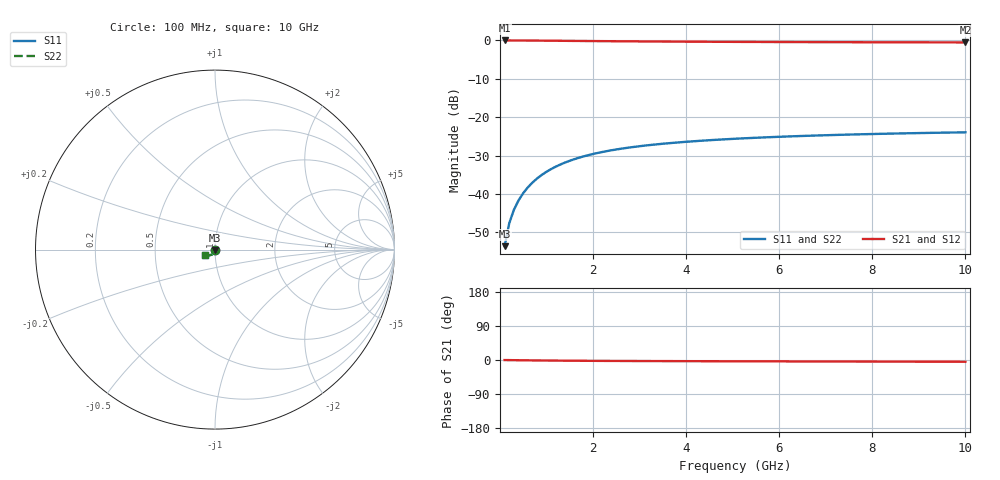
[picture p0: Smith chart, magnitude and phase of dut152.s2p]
! Touchstone file exported from HFSS 2024.1.0
!  File:  C:/UserFiles/LocalFiles/RDL_TSV_Batchsim/temp_TSV1_152_1778755076.aedt
!  Generated:  06:42:50 PM May 14, 2026
!  Design:  TSV1
!  Project:  temp_TSV1_152_1778755076
!  Setup:  Setup1
!  Solution:  Sweep
! Variables:
!  dtsv = 20.09um
!  hbump = 3um
!  htsv = 62.29um
!  lrdl = 252.1521522um
!  p = 40
!  p1 = 57.48um
!  t = 500um
!  trdl = 3um
!  wrdl = 24.89489489um
# GHz S MA R 50.000000
! Terminal data exported
! Port[1] = TSV22_T1
! Port[2] = TSV22_T2
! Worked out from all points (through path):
!   100 points, 100 MHz to 10 GHz, reference 50 ohm
!   highest |S21| = 0.00 dB at 100 MHz (marker M1); lowest = -0.5 dB at 10 GHz (marker M2)
!   lowest |S11| = -53.6 dB at 100 MHz (marker M3), VSWR 1.00, Z = 50 - j0.209 ohm
!   |S11| at or under -10 dB: start of sweep to end of sweep
!   |S22| runs from -53.6 to -23.9 dB; largest |S21 - S12| = 3.6e-15
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0.1  0.002093 -90.4  0.9999 -0.2  0.9999 -0.2  0.002093 -90.4
! Gamma 0 0 0 0
! Port Impedance 50 0 50 0
0.2  0.004175 -93.2  0.9996 -0.3  0.9996 -0.3  0.004175 -93.2
0.3  0.006238 -95.5  0.9992 -0.5  0.9992 -0.5  0.006238 -95.5
0.4  0.008272 -97.7  0.9987 -0.6  0.9987 -0.6  0.008272 -97.7
0.5  0.01027 -99.7  0.998 -0.7  0.998 -0.7  0.01027 -99.7
0.6  0.01222 -101.7  0.9973 -0.9  0.9973 -0.9  0.01222 -101.7
0.7  0.01413 -103.7  0.9964 -1.0  0.9964 -1.0  0.01413 -103.7
0.8  0.01597 -105.5  0.9954 -1.1  0.9954 -1.1  0.01597 -105.5
0.9  0.01776 -107.4  0.9944 -1.3  0.9944 -1.3  0.01776 -107.4
1.1  0.02114 -110.8  0.9922 -1.5  0.9922 -1.5  0.02114 -110.8
1.4  0.02572 -115.5  0.9886 -1.8  0.9886 -1.8  0.02572 -115.5
1.6  0.02845 -118.3  0.9862 -1.9  0.9862 -1.9  0.02845 -118.3
1.8  0.03094 -120.9  0.9839 -2.1  0.9839 -2.1  0.03094 -120.9
2.1  0.03426 -124.4  0.9806 -2.3  0.9806 -2.3  0.03426 -124.4
2.5  0.03804 -128.4  0.9765 -2.5  0.9765 -2.5  0.03804 -128.4
2.9  0.04122 -131.7  0.9728 -2.7  0.9728 -2.7  0.04122 -131.7
3.4  0.04456 -135.1  0.9687 -2.9  0.9687 -2.9  0.04456 -135.1
4.2  0.04884 -139.4  0.9632 -3.1  0.9632 -3.1  0.04884 -139.4
5.1  0.05262 -143.1  0.9582 -3.4  0.9582 -3.4  0.05262 -143.1
6.7  0.05756 -147.9  0.9515 -3.8  0.9515 -3.8  0.05756 -147.9
8.4  0.06119 -151.6  0.9465 -4.2  0.9465 -4.2  0.06119 -151.6
10  0.06361 -154.2  0.9431 -4.7  0.9431 -4.7  0.06361 -154.2
